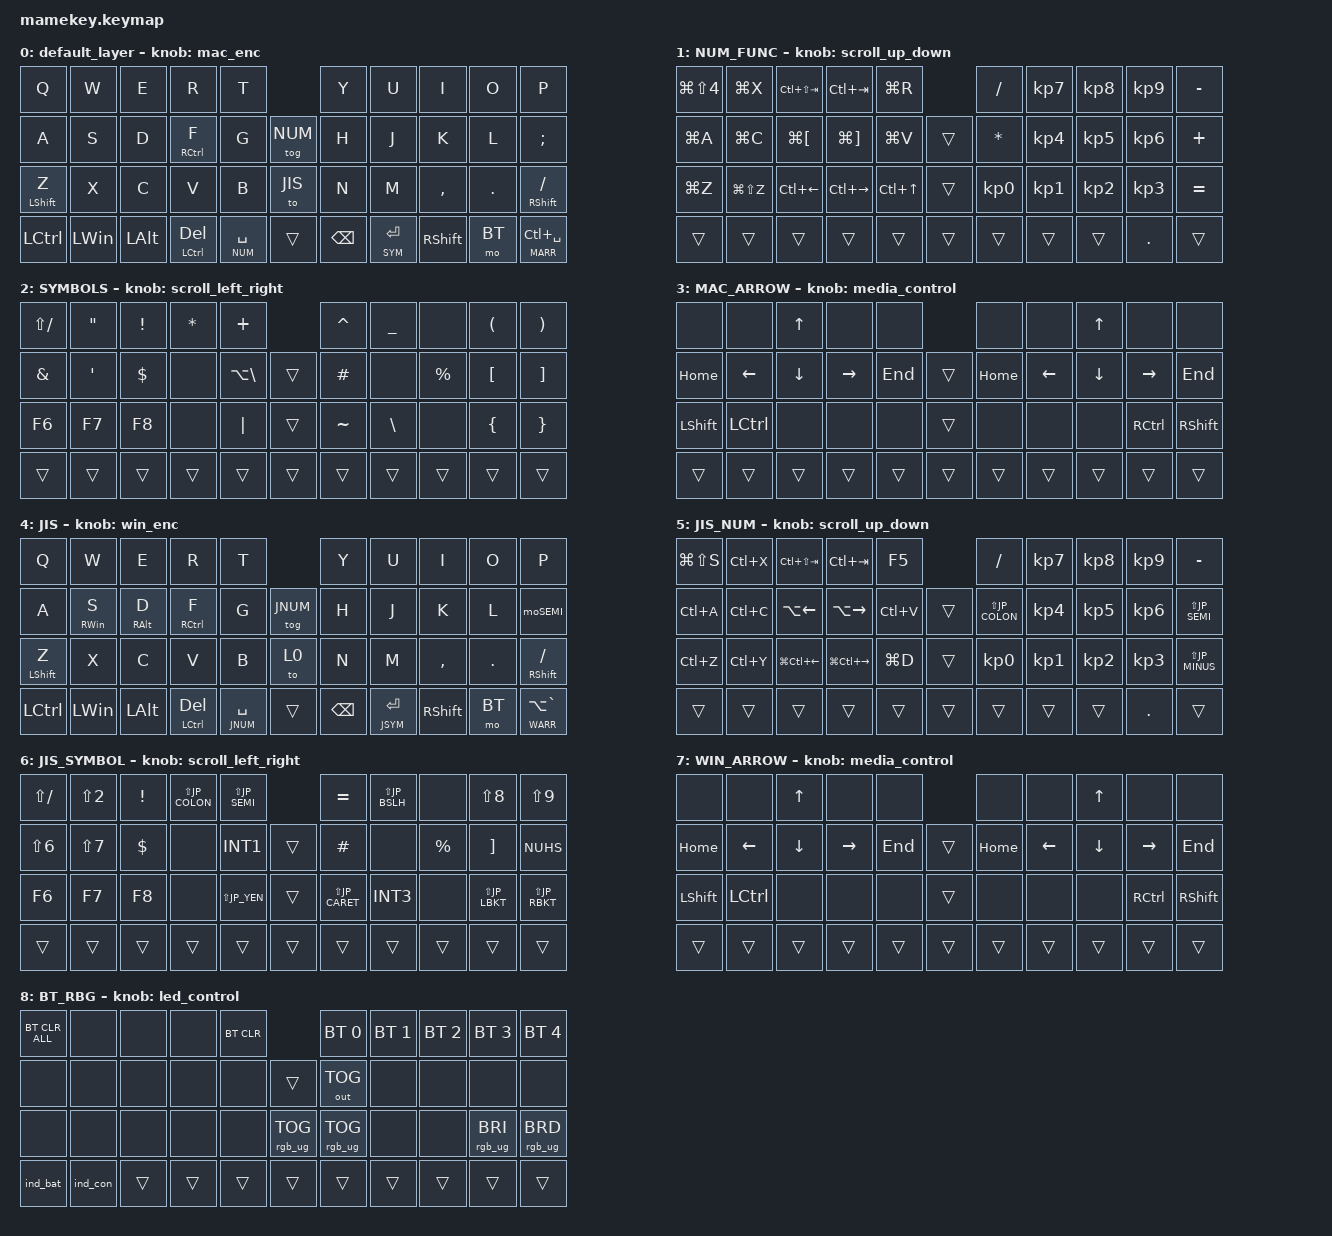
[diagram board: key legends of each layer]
#include <behaviors.dtsi>
#include <dt-bindings/zmk/keys.h>
#include <dt-bindings/zmk/bt.h>
#include <dt-bindings/zmk/outputs.h>
#include <dt-bindings/zmk/rgb.h>
#include <behaviors/rgbled_widget.dtsi>

#define ZMK_POINTING_DEFAULT_MOVE_VAL 1500
#define ZMK_POINTING_DEFAULT_SCRL_VAL 120 // (好きな値)
#include <dt-bindings/zmk/pointing.h>

#define NUM 1 //MAC US
#define SYM 2 //MAC US
#define MARR 3 //MAC
#define JIS 4 //WIN JIS
#define JNUM 5 //WIN JIS
#define JSYM 6 //WIN JIS
#define WARR 7 //WIN
#define BT 8

#define JP_ZKHK  GRAVE        // Zenkaku ↔ Hankaku ↔ Kanji (半角 ↔ 全角 ↔ 漢字)
#define JP_MINUS MINUS        // -
#define JP_CARET EQUAL        // ^
#define JP_YEN   INT3         // ¥
#define JP_AT    LBKT         // @
#define JP_LBKT  RBKT         // [
#define JP_EISU  CAPS         // Eisū (英数)
#define JP_SEMI  SEMI         // ;
#define JP_COLON SQT          // :
#define JP_RBKT  NUHS         // ]
#define JP_COMMA COMMA        // ,
#define JP_DOT   DOT          // .
#define JP_SLASH SLASH        // /
#define JP_BSLH  INT1         // (backslash)
#define JP_MHEN  INT5         // Muhenkan (無変換)
#define JP_HENK  INT4         // Henkan (変換)
#define JP_KANA  INT2         // Katakana ↔ Hiragana ↔ Rōmaji (カタカナ ↔ ひらがな ↔ ローマ字)
#define JP_EXCL  LS(N1)       // !
#define JP_DQT   LS(N2)       // "
#define JP_HASH  LS(N3)       // #
#define JP_DLLR  LS(N4)       // $
#define JP_PRCNT LS(N5)       // %
#define JP_AMPS  LS(N6)       // &
#define JP_SQT   LS(N7)       // '
#define JP_LPAR  LS(N8)       // (
#define JP_RPAR  LS(N9)       // )
#define JP_EQUAL LS(JP_MINUS) // =
#define JP_TILDE LS(JP_CARET) // ~
#define JP_PIPE  LS(JP_YEN)   // |
#define JP_GRAVE LS(JP_AT)    // `
#define JP_LBRC  LS(JP_LBKT)  // {
#define JP_CAPS  LS(JP_EISU)  // Caps Lock
#define JP_PLUS  LS(JP_SEMI)  // +
#define JP_ASTRK LS(JP_COLON) // *
#define JP_RBRC  LS(JP_RBKT)  // }
#define JP_LT    LS(JP_COMMA) // <
#define JP_RT    LS(JP_DOT)   // >
#define JP_QMARK LS(JP_SLASH) // ?
#define JP_UNDER LS(JP_BSLH)  // _

&mt {
    flavor = "balanced";
    quick-tap-ms = <200>;
};

/ {
    combos {
        compatible = "zmk,combos";

        esc {
            bindings = <&kp ESC>;
            key-positions = <1 0>;
        };        

        shift_tab {
            bindings = <&kp LS(TAB)>;
            key-positions = <1 2>;
        };
        
        single_quotation {
            bindings = <&kp SINGLE_QUOTE>;
            layers = <0>; 
            key-positions = <6 5>;
        };
        
        single_quotation_JIS {
            bindings = <&kp JP_SQT>;
            layers = <JIS>; 
            key-positions = <6 5>;
        };
                       
        tab {
            bindings = <&kp TAB>;
            key-positions = <2 3>;
        };
        
        map_capslock {
            bindings = <&kp CAPSLOCK>;
            layers = <0>;
            key-positions = <10 11>;
        };
        
        win_capslock {
            bindings = <&kp LS(CAPSLOCK)>;
            layers = <JIS>;
            key-positions = <10 11>;
        };

        eq {
            bindings = <&kp EQUAL>;
            layers = <0>; 
            key-positions = <20 19>;
        };
        
        eq_JIS {
            bindings = <&kp JP_EQUAL>;
            layers = <JIS>; 
            key-positions = <20 19>;
        };

//        mac_layer_bt {
//           bindings = <&tog BT>;
//           key-positions = <18 17>;
//        };

        mac_layer_L_PARENTHESIS {
            bindings = <&kp LEFT_PARENTHESIS>;
            layers = <0>;
            key-positions = <6 7>;
        };

        mac_layer_R_PARENTHESIS {
            bindings = <&kp RIGHT_PARENTHESIS>;
            layers = <0>;
            key-positions = <7 8>;
        };
        
        win_layer_L_PARENTHESIS {
            bindings = <&kp JP_LPAR>;
            layers = <JIS>;
            key-positions = <6 7>;
        };

        win_layer_R_PARENTHESIS {
            bindings = <&kp JP_RPAR>;
            layers = <JIS>;
            key-positions = <7 8>;
        };
        
        mac_layer_L_BRACKET {
            bindings = <&kp LEFT_BRACKET>;
            layers = <0>;
            key-positions = <17 18>;
        };

        mac_layer_R_BRACKET {
            bindings = <&kp RIGHT_BRACKET>;
            layers = <0>;
            key-positions = <18 19>;
        };
        
        win_layer_L_BRACKET {
            bindings = <&kp JP_LBKT>;
            layers = <JIS>;
            key-positions = <17 18>;
        };

        win_layer_R_BRACKET {
            bindings = <&kp JP_RBKT>;
            layers = <JIS>;
            key-positions = <18 19>;
        };
        
        mac_layer_L_BRACE {
            bindings = <&kp LEFT_BRACE>;
            layers = <0>;
            key-positions = <28 29>;
        };

        mac_layer_R_BRACE {
            bindings = <&kp RIGHT_BRACE>;
            layers = <0>;
            key-positions = <29 30>;
        };
        
        win_layer_L_BRACE {
            bindings = <&kp JP_LBRC>;
            layers = <JIS>;
            key-positions = <28 29>;
        };

        win_layer_R_BRACE {
            bindings = <&kp JP_RBRC>;
            layers = <JIS>;
            key-positions = <29 30>;
        };
        
        mac_layer_arrow {
            bindings = <&mo MARR>;
            layers = <0>; 
            key-positions = <13 12>;
        };

        win_layer_arrow {
            bindings = <&mo WARR>;
            layers = <JIS>; 
            key-positions = <13 12>;
        };        
                        
        minus {
            bindings = <&kp MINUS>;
            key-positions = <9 8>;
        };

        ctrl_alt_del {
            bindings = <&kp LC(RA(DEL))>;
            key-positions = <22 21>;
        };

        atmark {
            bindings = <&kp AT_SIGN>; 
            layers = <0>;  
            key-positions = <31 30>;
        };
        atmark_JIS {
            bindings = <&kp JP_AT>; 
            layers = <JIS>;  
            key-positions = <31 30>;
        };
    };

  behaviors {
    
    scroll_up_down: behavior_sensor_rotate_mouse_wheel_up_down {
            compatible = "zmk,behavior-sensor-rotate";
            #sensor-binding-cells = <0>;
            bindings = <&msc SCRL_UP>, <&msc SCRL_DOWN>;
            // 追加: スクロールのタップ時間を設定 (20ms)
            tap-ms = <20>;
        }; 
        
    scroll_left_right: behavior_sensor_rotate_mouse_wheel_left_right {
            compatible = "zmk,behavior-sensor-rotate";
            #sensor-binding-cells = <0>;
            bindings = <&msc SCRL_RIGHT>, <&msc SCRL_LEFT>;
            // 追加: スクロールのタップ時間を設定 (20ms)
            tap-ms = <20>;
        };         
        
    td_mt: tap_dance_mod_tap {
            compatible = "zmk,behavior-tap-dance";
            #binding-cells = <0>;
            tapping-term-ms = <200>;
            bindings = <&lt WARR LA(GRAVE)>, <&kp LC(SPC)>;
        };
        
    //encorder control WIN  
    w_r_alt_p: win-right-alt-positive {
        compatible = "zmk,behavior-mod-morph";
        #binding-cells = <0>;
        bindings = <&kp 0>, <&kp RIGHT>;
        mods = <(MOD_RALT)>;
        keep-mods = <(MOD_RALT)>;
    };
    w_alt_p: win-alt-positive {
        compatible = "zmk,behavior-mod-morph";
        #binding-cells = <0>;
        bindings = <&w_r_alt_p>, <&kp TAB>;
        mods = <(MOD_LALT)>;
        keep-mods = <(MOD_LALT)>;
    };    
    w_r_gui_p: win-right-gui-positive {
        compatible = "zmk,behavior-mod-morph";
        #binding-cells = <0>;
        bindings = <&kp 0>, <&kp LC(RIGHT)>;
        mods = <(MOD_RGUI)>;
        keep-mods = <(MOD_RGUI)>;
    };
    w_gui_p: win-gui-positive {
        compatible = "zmk,behavior-mod-morph";
        #binding-cells = <0>;
        bindings = <&w_r_gui_p>, <&kp RIGHT>;
        mods = <(MOD_LGUI)>;
        keep-mods = <(MOD_LGUI)>;
    };    
    w_alt_gui_p: win-alt-gui-positive {
        compatible = "zmk,behavior-mod-morph";
        #binding-cells = <0>;
        bindings = <&w_gui_p>, <&w_alt_p>;
        mods = <(MOD_LALT|MOD_RALT)>;
    };
    w_r_ctrl_p: win-right-ctrl-positive {
        compatible = "zmk,behavior-mod-morph";
        #binding-cells = <0>;
        bindings = <&kp 0>, <&kp TAB>;
        mods = <(MOD_RCTL)>;
        keep-mods = <(MOD_RCTL)>;
    };    
    w_ctrl_p: win-ctrl-positive {
        compatible = "zmk,behavior-mod-morph";
        #binding-cells = <0>;
        bindings = <&w_r_ctrl_p>, <&kp DOWN>;
        mods = <(MOD_LCTL)>;
    };
    w_shift_p: win-shift-positive {
        compatible = "zmk,behavior-mod-morph";
        #binding-cells = <0>;
        bindings = <&none>, <&kp RIGHT>;
        mods = <(MOD_RSFT|MOD_LSFT)>;
    };     
    w_shift_ctrl_p: win-shift-ctrl-positive {
        compatible = "zmk,behavior-mod-morph";
        #binding-cells = <0>;
        bindings = <&w_shift_p>, <&w_ctrl_p>;
        mods = <(MOD_LCTL|MOD_RCTL)>;
    };
    w_shift_ctrl_none_p: win_shift-ctrl-none-positive {
        compatible = "zmk,behavior-mod-morph";
        #binding-cells = <0>;
        bindings = <&kp C_VOL_UP>, <&w_shift_ctrl_p>;
        mods = <(MOD_LSFT|MOD_LCTL|MOD_RSFT|MOD_RCTL)>;
    };
    win_enc_p: win-enc-positive {
        compatible = "zmk,behavior-mod-morph";
        #binding-cells = <0>;
        bindings = <&w_shift_ctrl_none_p>, <&w_alt_gui_p>;
        mods = <(MOD_LALT|MOD_LGUI|MOD_RALT|MOD_RGUI)>;
    };
   
    w_r_alt_n: win-right-alt-negative {
        compatible = "zmk,behavior-mod-morph";
        #binding-cells = <0>;
        bindings = <&kp 0>, <&kp LEFT>;
        mods = <(MOD_RALT)>;
        keep-mods = <(MOD_RALT)>;
    };
    w_alt_n: win-alt-negative {
        compatible = "zmk,behavior-mod-morph";
        #binding-cells = <0>;
        bindings = <&w_r_alt_n>, <&kp LS(TAB)>;
        mods = <(MOD_LALT)>;
        keep-mods = <(MOD_LALT)>;
    };    
    w_r_gui_n: win-right-gui-negative {
        compatible = "zmk,behavior-mod-morph";
        #binding-cells = <0>;
        bindings = <&kp 0>, <&kp LC(LEFT)>;
        mods = <(MOD_RGUI)>;
        keep-mods = <(MOD_RGUI)>;
    };
    w_gui_n: win-gui-negative {
        compatible = "zmk,behavior-mod-morph";
        #binding-cells = <0>;
        bindings = <&w_r_gui_n>, <&kp LEFT>;
        mods = <(MOD_LGUI)>;
        keep-mods = <(MOD_LGUI)>;
    };    
    w_alt_gui_n: win-alt-gui-negative {
        compatible = "zmk,behavior-mod-morph";
        #binding-cells = <0>;
        bindings = <&w_gui_n>, <&w_alt_n>;
        mods = <(MOD_LALT|MOD_RALT)>;
    };
    w_r_ctrl_n: win-right-ctrl-negative {
        compatible = "zmk,behavior-mod-morph";
        #binding-cells = <0>;
        bindings = <&kp 0>, <&kp LS(TAB)>;
        mods = <(MOD_RCTL)>;
        keep-mods = <(MOD_RCTL)>;
    };    
    w_ctrl_n: win-ctrl-negative {
        compatible = "zmk,behavior-mod-morph";
        #binding-cells = <0>;
        bindings = <&w_r_ctrl_n>, <&kp UP>;
        mods = <(MOD_LCTL)>;
    };
    w_shift_n: win-shift-negative {
        compatible = "zmk,behavior-mod-morph";
        #binding-cells = <0>;
        bindings = <&none>, <&kp LEFT>;
        mods = <(MOD_RSFT|MOD_LSFT)>;
    };      
    w_shift_ctrl_n: win-shift-ctrl-negative {
        compatible = "zmk,behavior-mod-morph";
        #binding-cells = <0>;
        bindings = <&w_shift_n>, <&w_ctrl_n>;
        mods = <(MOD_LCTL|MOD_RCTL)>;
    };
    w_shift_ctrl_none_n: win_shift-ctrl-none-negative {
        compatible = "zmk,behavior-mod-morph";
        #binding-cells = <0>;
        bindings = <&kp C_VOL_DN>, <&w_shift_ctrl_n>;
        mods = <(MOD_LSFT|MOD_LCTL|MOD_RSFT|MOD_RCTL)>;
    };
    win_enc_n: win-enc-negative {
        compatible = "zmk,behavior-mod-morph";
        #binding-cells = <0>;
        bindings = <&w_shift_ctrl_none_n>, <&w_alt_gui_n>;
        mods = <(MOD_LALT|MOD_LGUI|MOD_RALT|MOD_RGUI)>;
    };
    
    win_enc: win-enc {
        compatible = "zmk,behavior-sensor-rotate";
        #sensor-binding-cells = <0>;
        bindings = <&win_enc_n>, <&win_enc_p>;
        tap-ms = <10>;
    };
    
//encorder control MAC

    //app select    
    m_gui_p: mac-gui-positive {
        compatible = "zmk,behavior-mod-morph";
        #binding-cells = <0>;
        bindings = <&none>, <&kp TAB>;
        mods = <(MOD_LGUI|MOD_RGUI)>;
        keep-mods = <(MOD_LGUI)>;
    };    
    //browser tab move
    m_r_ctrl_p: mac-right-ctrl-positive {
        compatible = "zmk,behavior-mod-morph";
        #binding-cells = <0>;
        bindings = <&kp 0>, <&kp TAB>;
        mods = <(MOD_RCTL)>;
        keep-mods = <(MOD_RCTL)>;
    };  
    m_ctrl_p: mac-ctrl-positive {
        compatible = "zmk,behavior-mod-morph";
        #binding-cells = <0>;
        bindings = <&m_r_ctrl_p>, <&kp DOWN>;
        mods = <(MOD_LCTL)>;
    }; 
    m_shift_p: mac-shift-positive {
        compatible = "zmk,behavior-mod-morph";
        #binding-cells = <0>;
        bindings = <&none>, <&kp RIGHT>;
        mods = <(MOD_RSFT|MOD_LSFT)>;
    };     
    m_shift_ctrl_p: mac-shift-ctrl-positive {
        compatible = "zmk,behavior-mod-morph";
        #binding-cells = <0>;
        bindings = <&m_shift_p>, <&m_ctrl_p>;
        mods = <(MOD_LCTL|MOD_RCTL)>;
    };
    m_shift_ctrl_none_p: mac_shift-ctrl-none-positive {
        compatible = "zmk,behavior-mod-morph";
        #binding-cells = <0>;
        bindings = <&kp C_VOL_UP>, <&m_shift_ctrl_p>;
        mods = <(MOD_LSFT|MOD_LCTL|MOD_RSFT|MOD_RCTL)>;
    };
    mac_enc_p: mac-enc-positive {
        compatible = "zmk,behavior-mod-morph";
        #binding-cells = <0>;
        bindings = <&m_shift_ctrl_none_p>, <&m_gui_p>;
        mods = <(MOD_LGUI|MOD_RGUI)>;
    };
    //app select    
    m_gui_n: mac-gui-negative {
        compatible = "zmk,behavior-mod-morph";
        #binding-cells = <0>;
        bindings = <&none>, <&kp LS(TAB)>;
        mods = <(MOD_LGUI|MOD_RGUI)>;
        keep-mods = <(MOD_LGUI)>;
    };    
    //browser tab move
    m_r_ctrl_n: mac-right-ctrl-negative {
        compatible = "zmk,behavior-mod-morph";
        #binding-cells = <0>;
        bindings = <&kp 0>, <&kp LS(TAB)>;
        mods = <(MOD_RCTL)>;
        keep-mods = <(MOD_RCTL)>;
    };    
    m_ctrl_n: mac-ctrl-negative {
        compatible = "zmk,behavior-mod-morph";
        #binding-cells = <0>;
        bindings = <&m_r_ctrl_n>, <&kp UP>;
        mods = <(MOD_LCTL)>;
    }; 
    m_shift_n: mac-shift-negative {
        compatible = "zmk,behavior-mod-morph";
        #binding-cells = <0>;
        bindings = <&none>, <&kp LEFT>;
        mods = <(MOD_RSFT|MOD_LSFT)>; 
  };         
    m_shift_ctrl_n: mac-shift-ctrl-negative {
        compatible = "zmk,behavior-mod-morph";
        #binding-cells = <0>;
        bindings = <&m_shift_n>, <&m_ctrl_n>;
        mods = <(MOD_LCTL|MOD_RCTL)>;
    };
    m_shift_ctrl_none_n: mac_shift-ctrl-none-negative {
        compatible = "zmk,behavior-mod-morph";
        #binding-cells = <0>;
        bindings = <&kp C_VOL_DN>, <&m_shift_ctrl_n>;
        mods = <(MOD_LSFT|MOD_LCTL|MOD_RSFT|MOD_RCTL)>;
    };
    mac_enc_n: mac-enc-negative {
        compatible = "zmk,behavior-mod-morph";
        #binding-cells = <0>;
        bindings = <&m_shift_ctrl_none_n>, <&m_gui_n>;
        mods = <(MOD_LGUI|MOD_RGUI)>;
    };
        
    mac_enc: mac-enc {
        compatible = "zmk,behavior-sensor-rotate";
        #sensor-binding-cells = <0>;
        bindings = <&mac_enc_n>, <&mac_enc_p>;
        tap-ms = <10>;
    }; 
     
    
    //LED encorder    
    led_ca_p: ctrl-alt-positive {
        compatible = "zmk,behavior-mod-morph";
        #binding-cells = <0>;
        bindings = <&rgb_ug RGB_HUI>, <&rgb_ug RGB_SAI>;
        mods = <(MOD_LCTL|MOD_RCTL)>;
    };
    led_br_sa_hu_p: led-br-sa-hu-positive {
        compatible = "zmk,behavior-mod-morph";
        #binding-cells = <0>;
        bindings = <&rgb_ug RGB_BRI>, <&led_ca_p>;
        mods = <(MOD_LALT|MOD_RALT|MOD_LCTL|MOD_RCTL)>;
    };
    
    led_ca_n: ctrl-alt-negative {
        compatible = "zmk,behavior-mod-morph";
        #binding-cells = <0>;
        bindings = <&rgb_ug RGB_HUD>, <&rgb_ug RGB_SAD>;
        mods = <(MOD_LCTL|MOD_RCTL)>;
    };
    led_br_sa_hu_n: led-br-sa-hu-negative {
        compatible = "zmk,behavior-mod-morph";
        #binding-cells = <0>;
        bindings = <&rgb_ug RGB_BRD>, <&led_ca_n>;
        mods = <(MOD_LALT|MOD_RALT|MOD_LCTL|MOD_RCTL)>;
    }; 
    led_control: led-control {
        compatible = "zmk,behavior-sensor-rotate";
        #sensor-binding-cells = <0>;
        bindings = <&led_br_sa_hu_n>, <&led_br_sa_hu_p>;
        tap-ms = <10>;
    }; 
    
    media_control: media-control {
        compatible = "zmk,behavior-sensor-rotate";
        #sensor-binding-cells = <0>;
        bindings = <&kp C_RW>, <&kp C_FF>;
        tap-ms = <10>;
    };     
    
    //JIS
    moSEMI: moSEMI {
            compatible = "zmk,behavior-mod-morph";
            #binding-cells = <0>;
            bindings = <&kp JP_SEMI>, <&kp JP_COLON>;
            mods = <(MOD_LSFT|MOD_RSFT)>;
     };                    
              
};



    keymap {
        compatible = "zmk,keymap";

          default_layer {
            bindings = <
&kp Q               &kp W             &kp E             &kp R            &kp T                             &kp Y           &kp U          &kp I        &kp O      &kp P
&kp A               &kp S             &kp D             &mt RCTRL F      &kp G           &tog NUM          &kp H           &kp J          &kp K        &kp L      &kp SEMICOLON
&mt LEFT_SHIFT Z    &kp X             &kp C             &kp V            &kp B           &to JIS           &kp N           &kp M          &kp COMMA    &kp DOT    &mt RIGHT_SHIFT SLASH
&kp LCTRL           &kp LEFT_WIN      &kp LEFT_ALT      &mt LCTRL DEL    &lt NUM SPACE   &trans            &kp BACKSPACE   &lt SYM ENTER  &kp RIGHT_SHIFT   &mo BT     &lt MARR LC(SPC)
            >;   
            sensor-bindings = <&mac_enc>;
        };

          NUM_FUNC {
            bindings = <
&kp LG(LS(NUMBER_4))    &kp LG(X)       &kp LC(LS(TAB))         &kp LC(TAB)              &kp LG(R)                       &kp SLASH        &kp KP_NUMBER_7  &kp KP_NUMBER_8  &kp KP_NUMBER_9  &kp MINUS
&kp LG(A)               &kp LG(C)       &kp LG(LEFT_BRACKET)    &kp LG(RIGHT_BRACKET)    &kp LG(V)           &trans      &kp ASTERISK     &kp KP_NUMBER_4  &kp KP_NUMBER_5  &kp KP_NUMBER_6  &kp PLUS
&kp LG(Z)               &kp LG(LS(Z))   &kp LC(LEFT_ARROW)      &kp LC(RIGHT_ARROW)      &kp LC(UP_ARROW)    &trans      &kp KP_NUMBER_0  &kp KP_NUMBER_1  &kp KP_NUMBER_2  &kp KP_NUMBER_3  &kp EQUAL
&trans                  &trans          &trans                  &trans                   &trans              &trans      &trans           &trans           &trans           &kp PERIOD       &trans
            >; 
            sensor-bindings = <&scroll_up_down>;
        };

          SYMBOLS {
            bindings = <
&kp LS(SLASH)  &kp DOUBLE_QUOTES  &kp EXCLAMATION  &kp ASTERISK  &kp PLUS                     &kp CARET  &kp UNDERSCORE  &none        &kp LEFT_PARENTHESIS  &kp RIGHT_PARENTHESIS
&kp AMPERSAND  &kp SINGLE_QUOTE   &kp DOLLAR       &none         &kp LA(BACKSLASH)   &trans   &kp HASH   &none           &kp PERCENT  &kp LEFT_BRACKET      &kp RIGHT_BRACKET
&kp F6         &kp F7             &kp F8           &none         &kp PIPE            &trans   &kp TILDE  &kp BACKSLASH   &none        &kp LEFT_BRACE        &kp RIGHT_BRACE 
&trans         &trans             &trans           &trans        &trans              &trans   &trans     &trans          &trans       &trans                &trans 
            >;  
            sensor-bindings = <&scroll_left_right>;
        };
        
          MAC_ARROW {
            bindings = <
&none           &none           &kp UP_ARROW    &none            &none            &none     &none           &kp UP_ARROW    &none            &none
&kp HOME        &kp LEFT_ARROW  &kp DOWN_ARROW  &kp RIGHT_ARROW  &kp END  &trans  &kp HOME  &kp LEFT_ARROW  &kp DOWN_ARROW  &kp RIGHT_ARROW  &kp END 
&kp LEFT_SHIFT  &kp LCTRL       &none           &none            &none    &trans  &none     &none           &none           &kp RCTRL        &kp RIGHT_SHIFT
&trans          &trans          &trans          &trans           &trans   &trans  &trans    &trans          &trans          &trans           &trans
            >;
            sensor-bindings = <&media_control>;
        };        
        
          JIS {
            bindings = <
&kp Q             &kp W             &kp E            &kp R           &kp T                             &kp Y          &kp U           &kp I        &kp O      &kp P
&kp A             &mt RIGHT_WIN S   &mt RIGHT_ALT D  &mt RCTRL F     &kp G           &tog JNUM         &kp H          &kp J           &kp K        &kp L      &moSEMI
&mt LEFT_SHIFT Z  &kp X             &kp C            &kp V           &kp B           &to 0             &kp N          &kp M           &kp COMMA    &kp DOT    &mt RIGHT_SHIFT SLASH
&kp LCTRL         &kp LEFT_WIN      &kp LEFT_ALT     &mt LCTRL DEL   &lt JNUM SPACE  &trans            &kp BACKSPACE  &lt JSYM ENTER  &kp RIGHT_SHIFT        &mo BT     &lt WARR LA(GRAVE)
            >;
            sensor-bindings = <&win_enc>;
        };
        
          JIS_NUM {
            bindings = <
&kp LG(LS(S))  &kp LC(X)  &kp LC(LS(TAB))         &kp LC(TAB)              &kp F5             &kp SLASH        &kp KP_NUMBER_7  &kp KP_NUMBER_8  &kp KP_NUMBER_9  &kp MINUS
&kp LC(A)      &kp LC(C)  &kp LA(LEFT_ARROW)      &kp LA(RIGHT_ARROW)      &kp LC(V)  &trans  &kp JP_ASTRK     &kp KP_NUMBER_4  &kp KP_NUMBER_5  &kp KP_NUMBER_6  &kp JP_PLUS
&kp LC(Z)      &kp LC(Y)  &kp LG(LC(LEFT_ARROW))  &kp LG(LC(RIGHT_ARROW))  &kp LG(D)  &trans  &kp KP_NUMBER_0  &kp KP_NUMBER_1  &kp KP_NUMBER_2  &kp KP_NUMBER_3  &kp JP_EQUAL
&trans         &trans     &trans                  &trans                   &trans     &trans  &trans           &trans           &trans           &kp PERIOD       &trans
            >;
            sensor-bindings = <&scroll_up_down>;
        };
        
          JIS_SYMBOL {
            bindings = <
&kp LS(SLASH) &kp JP_DQT  &kp EXCLAMATION  &kp JP_ASTRK  &kp JP_PLUS            &kp JP_CARET  &kp JP_UNDER   &none        &kp JP_LPAR  &kp JP_RPAR
&kp JP_AMPS   &kp JP_SQT  &kp DOLLAR       &none         &kp JP_BSLH   &trans   &kp HASH      &none          &kp PERCENT  &kp JP_LBKT  &kp JP_RBKT
&kp F6        &kp F7      &kp F8           &none         &kp JP_PIPE   &trans   &kp JP_TILDE  &kp JP_YEN     &none        &kp JP_LBRC  &kp JP_RBRC 
&trans        &trans      &trans           &trans        &trans        &trans   &trans        &trans         &trans       &trans       &trans 
            >;
            sensor-bindings = <&scroll_left_right>;
        }; 

          WIN_ARROW {
            bindings = <
&none           &none           &kp UP_ARROW    &none            &none            &none     &none           &kp UP_ARROW    &none            &none
&kp HOME        &kp LEFT_ARROW  &kp DOWN_ARROW  &kp RIGHT_ARROW  &kp END  &trans  &kp HOME  &kp LEFT_ARROW  &kp DOWN_ARROW  &kp RIGHT_ARROW  &kp END 
&kp LEFT_SHIFT  &kp LCTRL       &none           &none            &none    &trans  &none     &none           &none           &kp RCTRL        &kp RIGHT_SHIFT
&trans          &trans          &trans          &trans           &trans   &trans  &trans    &trans          &trans          &trans           &trans
            >;
            sensor-bindings = <&media_control>;
        };                       

          BT_RBG {
            bindings = <
&bt BT_CLR_ALL  &none     &none    &none    &bt BT_CLR                     &bt BT_SEL 0  &bt BT_SEL 1  &bt BT_SEL 2  &bt BT_SEL 3      &bt BT_SEL 4
&none           &none     &none    &none    &none        &trans            &out OUT_TOG  &none         &none         &none             &none
&none           &none     &none    &none    &none        &rgb_ug RGB_TOG   &rgb_ug RGB_TOG   &none         &none         &rgb_ug RGB_BRI   &rgb_ug RGB_BRD
&ind_bat        &ind_con  &trans   &trans   &trans       &trans            &trans        &trans        &trans        &trans            &trans
            >;
            sensor-bindings = <&led_control>;
        };        
    };   
};

/ {
    aliases {
        led-red = &led0;
        led-green = &led1;
        led-blue = &led2;
    };

    leds {
        compatible = "gpio-leds";
        status = "okay";
        led0: led_0 {
            gpios = <&gpio0 26 GPIO_ACTIVE_LOW>;  // red LED, connected to P0.26
        };
        led1: led_1 {
            gpios = <&gpio0 30 GPIO_ACTIVE_LOW>;  // green LED, connected to P0.30
        };
        led2: led_2 {
            gpios = <&gpio0 6 GPIO_ACTIVE_LOW>;  // blue LED, connected to P0.06
        };
    };
};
